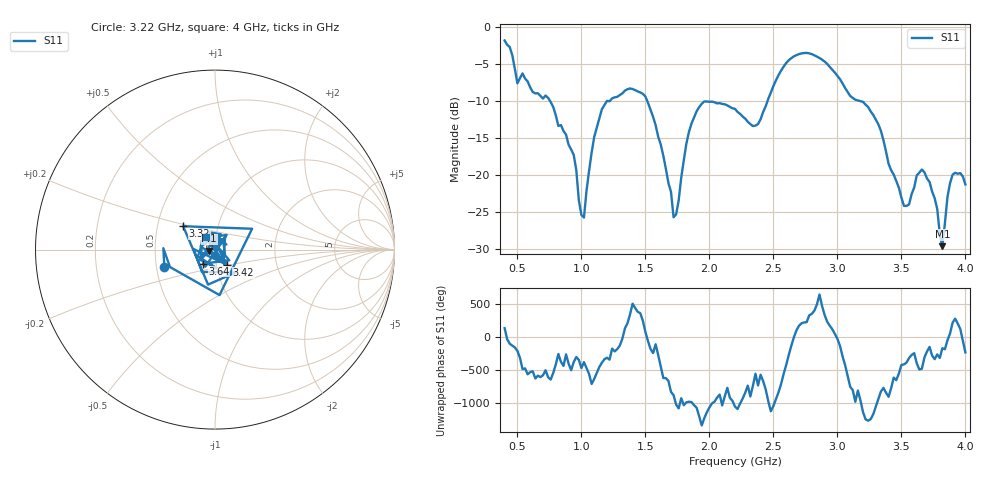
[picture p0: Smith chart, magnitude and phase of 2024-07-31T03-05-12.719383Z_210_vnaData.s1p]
!Created with skrf (http://scikit-rf.org).
# Hz S RI R 50.0
!freq ReS11 ImS11
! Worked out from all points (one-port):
!   181 points, 400 MHz to 4 GHz, reference 50 ohm
!   lowest |S11| = -29.6 dB at 3.82 GHz (marker M1), VSWR 1.07, Z = 46.8 - j0.513 ohm
!   |S11| at or under -10 dB: 754.9 MHz to 1.2 GHz (444.6 MHz wide, 45.5 % of centre); 1.514 GHz to 2.454 GHz (939.8 MHz wide, 47.4 % of centre); 3.176 GHz to end of sweep (the widest 3 of 4)
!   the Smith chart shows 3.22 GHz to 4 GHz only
!   S11 on the Smith chart (normalised r, x): 3.22 GHz: 0.55, -0.12; 3.32 GHz: 0.68, +0.19; 3.42 GHz: 1.13, -0.19; 3.64 GHz: 0.86, -0.14; 4 GHz: 0.89, +0.12
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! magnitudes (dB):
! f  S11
! 400 MHz  -1.8
! 500 MHz  -7.6
! 740 MHz  -9.6
! 860 MHz  -14.0
! 940 MHz  -17.3
! 1.02 GHz  -25.7
! 1.1 GHz  -14.9
! 1.16 GHz  -11.1
! 1.3 GHz  -9.2
! 1.5 GHz  -9.4
! 1.62 GHz  -15.9
! 1.72 GHz  -25.7
! 1.76 GHz  -23.4
! 1.84 GHz  -14.2
! 1.92 GHz  -10.8
! 2.2 GHz  -11.1
! 2.38 GHz  -13.1
! 2.66 GHz  -4.0
! 3.1 GHz  -9.3
! 3.22 GHz  -10.5
! 3.32 GHz  -13.1
! 3.42 GHz  -19.4
! 3.56 GHz  -23.9
! 3.64 GHz  -19.7
! 3.76 GHz  -23.1
! 3.82 GHz  -29.6
! 3.9 GHz  -19.9
! 4 GHz  -21.3
